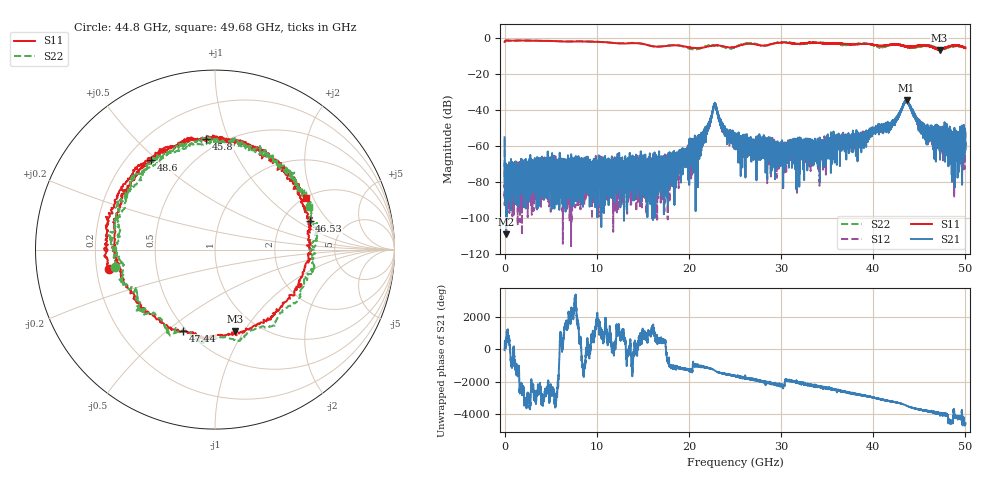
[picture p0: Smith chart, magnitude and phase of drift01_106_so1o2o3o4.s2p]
!Created with skrf (http://scikit-rf.org).
# Hz S RI R 50.0
!freq ReS11 ImS11 ReS21 ImS21 ReS12 ImS12 ReS22 ImS22
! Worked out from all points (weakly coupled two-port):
!   10001 points, 300 kHz to 50 GHz, reference 50 ohm
!   highest |S21| = -34.73 dB at 43.62 GHz (marker M1); lowest = -109.1 dB at 175.3 MHz (marker M2)
!   lowest |S11| = -6.6 dB at 47.2 GHz (marker M3), VSWR 2.76, Z = 39.3 - j45.8 ohm
!   |S11| at or under -10 dB: nowhere
!   |S22| runs from -6.4 to -1.4 dB; largest |S21 - S12| = 0.004
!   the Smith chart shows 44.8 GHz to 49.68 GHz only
!   S11 on the Smith chart (normalised r, x): 44.8 GHz: 0.25, -0.08; 45.8 GHz: 0.42, +0.83; 46.53 GHz: 2.79, +1.28; 47.44 GHz: 0.48, -0.57; 48.6 GHz: 0.30, +0.48; 49.68 GHz: 2.01, +1.77
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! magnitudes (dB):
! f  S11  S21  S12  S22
! 300 kHz  -2.1  -55.2  -56.3  -2.1
! 175.3 MHz  -1.4  -109.1  -73.6  -1.4
! 280.3 MHz  -1.4  -74.4  -74.4  -1.4
! 8.335 GHz  -1.9  -75.3  -81.3  -1.8
! 16.67 GHz  -4.8  -75.6  -78.3  -4.8
! 20.73 GHz  -5.6  -58.8  -62.9  -6.3
! 21.93 GHz  -4.9  -49.8  -50.3  -4.5
! 22.81 GHz  -4.3  -35.9  -36.1  -4.0
! 23.75 GHz  -4.6  -50.5  -51.1  -5.0
! 25 GHz  -5.0  -60.5  -56.7  -5.1
! 29.56 GHz  -2.8  -64.2  -61.4  -2.6
! 33.34 GHz  -2.6  -62.4  -64.1  -2.6
! 41.67 GHz  -3.9  -48.7  -49.1  -4.2
! 43.62 GHz  -4.7  -34.7  -35.1  -4.9
! 44.8 GHz  -4.4  -47.3  -46.0  -5.0
! 45.8 GHz  -4.2  -54.0  -51.2  -4.2
! 46.53 GHz  -5.2  -62.1  -50.7  -5.0
! 47.2 GHz  -6.6  -57.8  -52.2  -5.9
! 47.44 GHz  -6.2  -54.4  -53.4  -5.7
! 48.6 GHz  -4.3  -57.7  -60.9  -4.7
! 49.68 GHz  -4.7  -52.5  -48.7  -4.8
! 50 GHz  -5.4  -59.1  -59.8  -5.3
